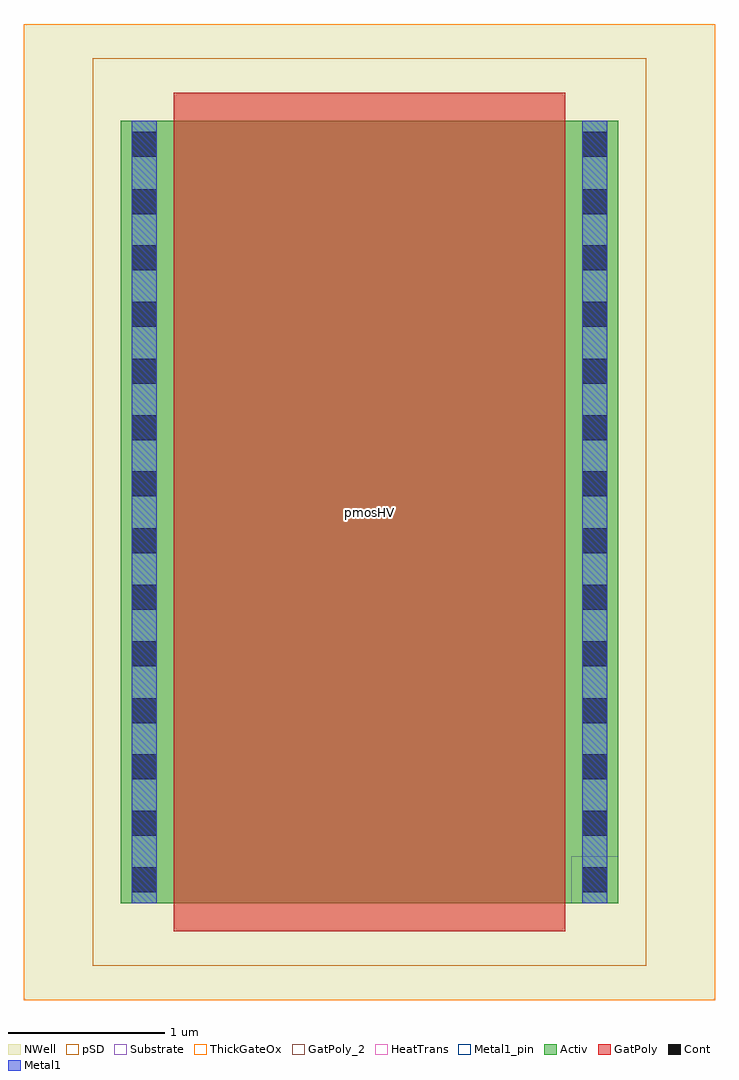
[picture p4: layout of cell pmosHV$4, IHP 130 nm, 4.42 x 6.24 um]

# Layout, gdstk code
import gdstk
lib = gdstk.Library(unit=1e-6, precision=5e-09)
def R(c, l, rs):  # rectangles x0, y0, x1, y1
    for r in rs: c.add(gdstk.rectangle(r[:2], r[2:], *l))
def A(c, l, x, y, w, h, nx, ny, dx, dy):  # array of equal rectangles
    R(c, l, [(x+i*dx, y+j*dy, x+i*dx+w, y+j*dy+h) for i in range(nx) for j in range(ny)])
Activ = (1, 0)
GatPoly = (5, 0)
GatPoly_2 = (5, 2)
Cont = (6, 0)
Metal1 = (8, 0)
Metal1_pin = (8, 2)
pSD = (14, 0)
NWell = (31, 0)
Substrate = (40, 0)
ThickGateOx = (44, 0)
HeatTrans = (51, 0)

pmoshv_4 = lib.new_cell('pmosHV$4')
R(pmoshv_4, Activ, [(0,0,0.3,0.3), (0,0,3.18,5), (2.88,0,3.18,0.3)])
R(pmoshv_4, GatPoly, [(0.34,-0.18,2.84,5.18)])
R(pmoshv_4, GatPoly_2, [(0.34,-0.18,2.84,5.18)])
A(pmoshv_4, Cont, 0.07, 0.07, 0.16, 0.16, 1, 4, 0, 0.36)
A(pmoshv_4, Cont, 2.95, 0.07, 0.16, 0.16, 1, 4, 0, 0.36)
A(pmoshv_4, Cont, 0.07, 1.515, 0.16, 0.16, 1, 3, 0, 0.36)
A(pmoshv_4, Cont, 2.95, 1.515, 0.16, 0.16, 1, 3, 0, 0.36)
A(pmoshv_4, Cont, 0.07, 2.6, 0.16, 0.16, 1, 3, 0, 0.36)
A(pmoshv_4, Cont, 2.95, 2.6, 0.16, 0.16, 1, 3, 0, 0.36)
A(pmoshv_4, Cont, 0.07, 3.685, 0.16, 0.16, 1, 3, 0, 0.36)
A(pmoshv_4, Cont, 2.95, 3.685, 0.16, 0.16, 1, 3, 0, 0.36)
R(pmoshv_4, Cont, [(0.07,4.77,0.23,4.93), (2.95,4.77,3.11,4.93)])
R(pmoshv_4, Metal1, [(0.07,0,0.23,5), (2.95,0,3.11,5)])
R(pmoshv_4, Metal1_pin, [(0.07,0,0.23,5), (2.95,0,3.11,5)])
R(pmoshv_4, pSD, [(-0.18,-0.4,3.36,5.4)])
R(pmoshv_4, NWell, [(-0.62,-0.62,3.8,5.62)])
R(pmoshv_4, Substrate, [(2.88,0,3.18,0.3)])
R(pmoshv_4, ThickGateOx, [(-0.62,-0.62,3.8,5.62)])
R(pmoshv_4, HeatTrans, [(0.34,-0.18,2.84,5.18)])
pmoshv_4.add(gdstk.Label('pmosHV', (1.59,2.5), layer=63, texttype=0))
pmoshv_4.add(gdstk.Label('pmos', (1.59,2.5), layer=51, texttype=0))

lib.write_gds('pmosHV_4.gds')
